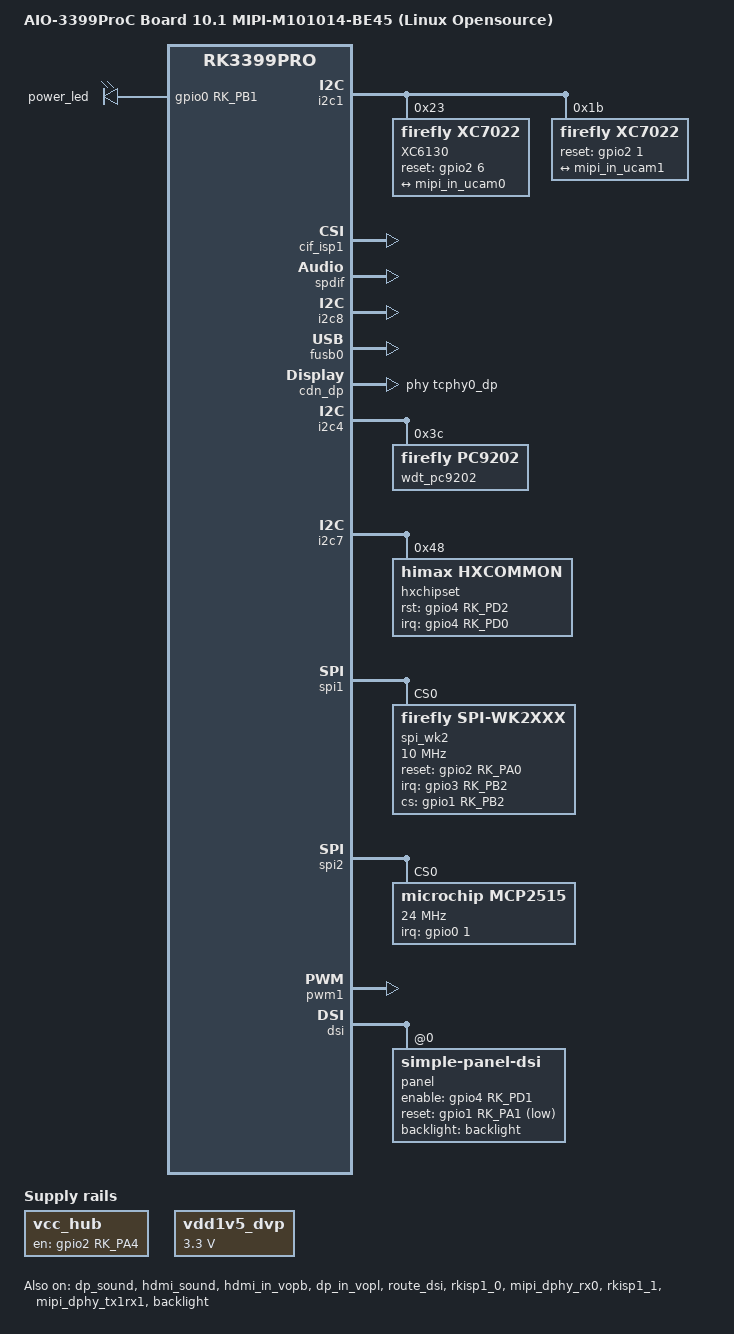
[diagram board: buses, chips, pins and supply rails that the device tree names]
/*
 * Copyright (c) 2016 Fuzhou Rockchip Electronics Co., Ltd
 *
 * This file is dual-licensed: you can use it either under the terms
 * of the GPL or the X11 license, at your option. Note that this dual
 * licensing only applies to this file, and not this project as a
 * whole.
 *
 *  a) This file is free software; you can redistribute it and/or
 *     modify it under the terms of the GNU General Public License as
 *     published by the Free Software Foundation; either version 2 of the
 *     License, or (at your option) any later version.
 *
 *     This file is distributed in the hope that it will be useful,
 *     but WITHOUT ANY WARRANTY; without even the implied warranty of
 *     MERCHANTABILITY or FITNESS FOR A PARTICULAR PURPOSE.  See the
 *     GNU General Public License for more details.
 *
 * Or, alternatively,
 *
 *  b) Permission is hereby granted, free of charge, to any person
 *     obtaining a copy of this software and associated documentation
 *     files (the "Software"), to deal in the Software without
 *     restriction, including without limitation the rights to use,
 *     copy, modify, merge, publish, distribute, sublicense, and/or
 *     sell copies of the Software, and to permit persons to whom the
 *     Software is furnished to do so, subject to the following
 *     conditions:
 *
 *     The above copyright notice and this permission notice shall be
 *     included in all copies or substantial portions of the Software.
 *
 *     THE SOFTWARE IS PROVIDED "AS IS", WITHOUT WARRANTY OF ANY KIND,
 *     EXPRESS OR IMPLIED, INCLUDING BUT NOT LIMITED TO THE WARRANTIES
 *     OF MERCHANTABILITY, FITNESS FOR A PARTICULAR PURPOSE AND
 *     NONINFRINGEMENT. IN NO EVENT SHALL THE AUTHORS OR COPYRIGHT
 *     HOLDERS BE LIABLE FOR ANY CLAIM, DAMAGES OR OTHER LIABILITY,
 *     WHETHER IN AN ACTION OF CONTRACT, TORT OR OTHERWISE, ARISING
 *     FROM, OUT OF OR IN CONNECTION WITH THE SOFTWARE OR THE USE OR
 *     OTHER DEALINGS IN THE SOFTWARE.
 */

/dts-v1/;
#include "rk3399pro-firefly-port.dtsi"
#include "rk3399pro-firefly-pcie.dtsi"
#include <dt-bindings/display/media-bus-format.h>

/ {
	model = "AIO-3399ProC Board 10.1 MIPI-M101014-BE45 (Linux Opensource)";
	compatible = "rockchip,rk3399pro-firefly-aioc", "rockchip,rk3399pro";

	usbacm_video_control: usbacm-video-control {
		compatible = "rockchip,usbacm-video-control";
		status = "disabled";
	};

	/delete-node/ vcc5v0-typec;
	mcp251x_clk: mcp251x-clk {
		compatible = "fixed-clock";
		#clock-cells = <0>;
		clock-frequency = <8000000>;        //MCP2515_CAN模块的晶振为8MHz
	};

	vcc_hub: vcc-hub-regulator {
			compatible = "regulator-fixed";
			enable-active-high;
			regulator-always-on;
			regulator-boot-on;
			gpio = <&gpio2 RK_PA4 GPIO_ACTIVE_HIGH>;
			pinctrl-names = "default";
			pinctrl-0 = <&hub_drv>;
			regulator-name = "vcc_hub";
	};
};


&i2c1 {
	status = "okay";
	i2c-scl-rising-time-ns = <300>;
	i2c-scl-falling-time-ns = <15>;

	/delete-node/ ov13850@36;
	/delete-node/ ov13850@46;

	//cam0
	XC6130: XC6130@46 {
		status = "okay";
		compatible = "firefly,xc7022";
		reg = <0x23>;
		reset-gpios = <&gpio2 6 GPIO_ACTIVE_HIGH>;
		pinctrl-names = "default";
		pinctrl-0 = <&xc6130_reset_pin>;

		port {
			ucam_out0: endpoint {
				remote-endpoint = <&mipi_in_ucam0>;
				data-lanes = <1 2>;
			};
		};
	};

	//cam1
	XC7022: XC7022@36 {
		status = "okay";
		compatible = "firefly,xc7022";
		reg = <0x1b>;
		reset-gpios = <&gpio2 1 GPIO_ACTIVE_HIGH>;
		pinctrl-names = "default";
		pinctrl-0 = <&xc7022_reset_pin>;

		port {
			ucam_out1: endpoint {
				remote-endpoint = <&mipi_in_ucam1>;
				data-lanes = <1 2>;
			};
		};
	};
};

&cif_isp1 {
    status = "okay";
};

&dp_sound {
	status = "okay";
};

&hdmi_sound {
	status = "okay";
};

&spdif {
	status = "okay";
};

&hdmi_in_vopl {
	status = "disabled";
};

&hdmi_in_vopb {
	status = "okay";
};

&dp_in_vopb {
	status = "disabled";
};

&dp_in_vopl {
	status = "okay";
};

&route_dsi {
	status = "okay";
	connect = <&vopl_out_dsi>;
};

&route_hdmi {
	status = "disabled";
	connect = <&vopb_out_hdmi>;
	logo,mode = "center";
};

&vopb {
	assigned-clocks = <&cru DCLK_VOP0_DIV>;
	assigned-clock-parents = <&cru PLL_VPLL>;
};
&vopl {
	assigned-clocks = <&cru DCLK_VOP1_DIV>;
	assigned-clock-parents = <&cru PLL_CPLL>;
};

// DP
&i2c8 {
	status = "okay";
};

&fusb0 {
	status = "okay";
};

&vcc5v0_host {
	gpio = <&gpio2 RK_PA2 GPIO_ACTIVE_HIGH>;
};

&cdn_dp {
	status = "okay";
	extcon = <&fusb0>;
	phys = <&tcphy0_dp>;
};

// mipi csi
/*
&ov13850 {
	status = "disabled";
};

&ov13850_1 {
	status = "disabled";
};
*/

&vcc_mipi {
	status = "disabled";
};

&dvdd_1v2 {
	status = "disabled";
};

&rkisp1_0 {
	status = "okay";
};

&mipi_dphy_rx0 {
	status = "okay";
};

&isp0_mmu {
	status = "okay";
};

&rkisp1_1 {
	status = "okay";
};

&mipi_dphy_tx1rx1 {
	status = "okay";
};

&isp1_mmu {
	status = "okay";
};

&i2c4 {
	status = "okay";
	i2c-scl-rising-time-ns = <345>;
	i2c-scl-falling-time-ns = <11>;
};

&i2c7 {
    status = "okay";

	hxchipset@48{
        status = "okay";
        compatible = "himax,hxcommon";
        reg = <0x48>;

        himax,rst-gpio =  <&gpio4 RK_PD2 GPIO_ACTIVE_HIGH>;
        himax,irq-gpio = <&gpio4 RK_PD0 IRQ_TYPE_LEVEL_LOW>;
        //himax,3v3-gpio = <&gpio0 RK_PB4 GPIO_ACTIVE_HIGH>;
        //himax,pon-gpio = <&gpio0 RK_PB4 GPIO_ACTIVE_HIGH>;

        himax,panel-coords = <0 800 0 1280>;      //触摸范围
        himax,display-coords = <0 800 0 1280>;    //分辨率
        report_type = <1>;
    };
};

// LED
&power_led {
	gpios = <&gpio0 RK_PB1 GPIO_ACTIVE_HIGH>;
};

&led_power {
	rockchip,pins = <0 RK_PB1 RK_FUNC_GPIO &pcfg_pull_none>;
};

&pcie0 {
	/delete-property/ gpio;
};

&vcc3v3_3g {
	gpio = <&gpio3 RK_PD6 GPIO_ACTIVE_HIGH>;
};

&pcie_3g_drv {
	rockchip,pins = <3 RK_PD6 RK_FUNC_GPIO &pcfg_pull_up>;
};

/* spi to uart */
&uart4 {
	status = "disabled";
};

&spi1 {
	status = "okay";
	max-freq = <48000000>;
	dev-port = <0>;

	spi_wk2@00{
		status = "okay";
		compatible = "firefly,spi-wk2xxx";
		reg = <0x00>;
		spi-max-frequency = <10000000>;
		reset-gpio = <&gpio2 RK_PA0 GPIO_ACTIVE_HIGH>;
		irq-gpio = <&gpio3 RK_PB2 IRQ_TYPE_EDGE_FALLING>;
		cs-gpio = <&gpio1 RK_PB2 GPIO_ACTIVE_HIGH>;
	};
};

&spi2 {
	status = "okay";

	spi_wk2xxx@00{
		status = "disabled";
	};

	mcp2515: can@00 {
		status = "okay";
		compatible = "microchip,mcp2515";
		reg = <0x00>;
		clocks = <&mcp251x_clk>;
		interrupt-parent = <&gpio0>;
		interrupts = <1 IRQ_TYPE_EDGE_FALLING>;
		spi-max-frequency = <24000000>;
		pinctrl-names = "default";
		pinctrl-0 = <&can0_pins>;
		poll_mode = <0>;
		enable_dma = <1>;
	};
};

&rk809_codec {
	hp-det = <&gpio0 RK_PB5 GPIO_ACTIVE_HIGH>;
	spk-ctl = <&gpio2 RK_PA5 GPIO_ACTIVE_HIGH>;
	hp-ctl-gpios = <&gpio3 RK_PD7 GPIO_ACTIVE_HIGH>;
	io-channels = <0>;
};

&spk_ctl_gpio {
	rockchip,pins = <2 RK_PA5 RK_FUNC_GPIO &pcfg_pull_up_20ma>;
};


&vdd1v5_dvp {
	regulator-min-microvolt = <3300000>;
	regulator-max-microvolt = <3300000>;
};

&i2c4 {
	status = "okay";

	wdt_pc9202: wdt-pc9202@3c {
		status = "okay";
		compatible = "firefly,pc9202";
		reg = <0x3c>;
	};
};

&pinctrl {
	hub {
		hub_drv: hub-drv {
			rockchip,pins =
				<2 RK_PA4 RK_FUNC_GPIO &pcfg_pull_up>;
		};
	};

	can0 {
		can0_pins: can0-pins {
			rockchip,pins =
				<0 RK_PA1 RK_FUNC_GPIO &pcfg_pull_none>;
		};
	};

	usb2 {
		host_vbus_drv: host-vbus-drv {
			rockchip,pins =
				<2 RK_PA2 RK_FUNC_GPIO &pcfg_pull_none>;
		};
	};

	camera-pins{
		xc7022_reset_pin: xc7022-reset-pin {
			rockchip,pins = 
                <2 1 RK_FUNC_GPIO &pcfg_pull_none>;
		};

		xc6130_reset_pin: xc6130-reset-pin {
			rockchip,pins = 
                <2 6 RK_FUNC_GPIO &pcfg_pull_none>;
		};
	};
};

&pwm1 {
    status = "okay";
};

&backlight {
    status = "okay";
    pwms = <&pwm1 0 50000 1>; 
    enable-gpios = <&gpio4 RK_PD5 GPIO_ACTIVE_HIGH>;
    brightness-levels = <
         60  60  60  61  61  61  62  62
         62  63  63  63  64  64  64  65
         65  65  66  66  66  67  67  67
         68  68  68  69  69  69  70  70
         70  71  71  71  72  72  72  73
         73  73  74  74  74  75  75  75
         76  76  76  77  77  77  78  78
         78  79  79  79  80  80  80  81
         81  81  82  82  82  83  83  83
         84  84  84  85  85  85  86  86
         86  87  87  87  88  88  88  89
         89  89  90  91  92  93  94  95
         96  97  98  99 100 101 102 103
        104 105 106 107 108 109 110 111
        112 113 114 115 116 117 118 119
        120 121 122 123 124 125 126 127
        128 129 130 131 132 133 134 135
        136 137 138 139 140 141 142 143
        144 145 146 147 148 149 150 151
        152 153 154 155 156 157 158 159
        160 161 162 163 164 165 166 167
        168 169 170 171 172 173 174 175
        176 177 178 179 180 181 182 183
        184 185 186 187 188 189 190 191
        192 193 194 195 196 197 198 199
        200 201 202 203 204 205 206 207
        208 209 210 211 212 213 214 215
        216 217 218 219 220 221 222 223
        224 225 226 227 228 229 230 231
        232 233 234 235 236 237 238 239
        240 241 242 243 244 245 246 247
        248 249 250 251 252 253 254 255
    >;
    default-brightness-level = <200>;
    polarity = <1>;
};

&dsi {
	status = "okay";

	panel@0 {
		compatible = "simple-panel-dsi";
		reg = <0>;
		backlight = <&backlight>;
		//power-supply = <&vcc_lcd>;
		enable-gpios = <&gpio4 RK_PD1 GPIO_ACTIVE_HIGH>;
		reset-gpios = <&gpio1 RK_PA1 GPIO_ACTIVE_LOW>;
		dsi,flags = <(MIPI_DSI_MODE_VIDEO | MIPI_DSI_MODE_VIDEO_BURST | MIPI_DSI_MODE_LPM | MIPI_DSI_MODE_EOT_PACKET)>;
		dsi,format = <MIPI_DSI_FMT_RGB888>;
		bus-format = <MEDIA_BUS_FMT_RGB666_1X18>;
		dsi,lanes = <4>;

		enable-delay-ms = <35>;
		prepare-delay-ms = <6>;
		reset-delay-ms = <25>;
		init-delay-ms = <55>;
		unprepare-delay-ms = <0>;
		disable-delay-ms = <20>;
		size,width = <120>;
		size,height = <170>;

		status = "okay";

		//width-mm = <135>;
		//height-mm = <217>;

        panel-init-sequence = [
			05 78 01 11
			05 32 01 29
		];

		panel-exit-sequence = [
			05 05 01 28
			05 78 01 10
		];

		display-timings {
			native-mode = <&timing1>;

			timing1: timing1 {
				clock-frequency = <72600000>;//<80000000>;
				hactive = <800>;//<768>;
				vactive = <1280>;
				hsync-len = <14>;   //20, 50,10
				hback-porch = <26>; //50, 56,10
				hfront-porch = <32>;//50, 30,180
				vsync-len = <8>;//4
				vback-porch = <20>;//4
				vfront-porch = <80>;//8
				hsync-active = <0>;
				vsync-active = <0>;
				de-active = <0>;
				pixelclk-active = <0>;
			};
		};
	};
};
